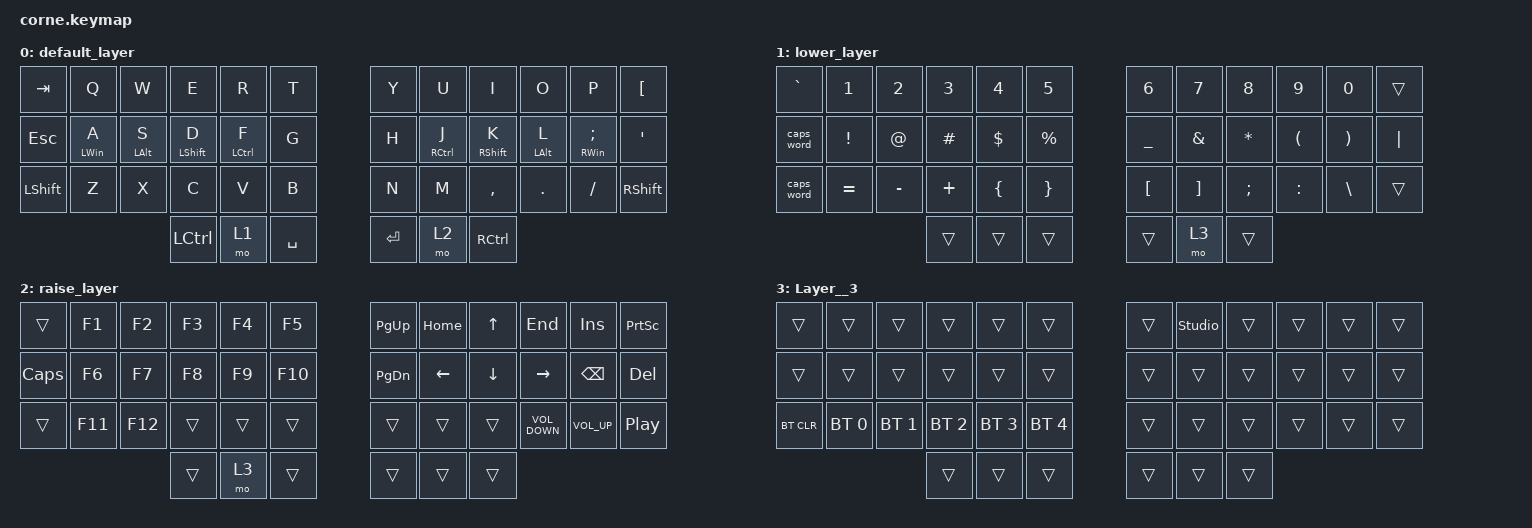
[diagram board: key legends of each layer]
/*
 * Copyright (c) 2020 The ZMK Contributors
 *
 * SPDX-License-Identifier: MIT
 */

#include <behaviors.dtsi>
#include <dt-bindings/zmk/bt.h>
#include <dt-bindings/zmk/keys.h>

/ {
    behaviors {
        hm: homerow_mods {
            compatible = "zmk,behavior-hold-tap";
            label = "HOMEROW_MODS";
            #binding-cells = <2>;
            tapping-term-ms = <200>;
            quick-tap-ms = <0>;
            flavor = "tap-preferred";
            bindings = <&kp>, <&kp>;
        };
    };

    keymap {
        compatible = "zmk,keymap";

        default_layer {
            // -----------------------------------------------------------------------------------------
            // |  TAB |  Q  |  W  |  E  |  R  |  T  |   |  Y  |  U   |  I  |  O  |  P  | BKSP |
            // | CTRL |  A  |  S  |  D  |  F  |  G  |   |  H  |  J   |  K  |  L  |  ;  |  '   |
            // | SHFT |  Z  |  X  |  C  |  V  |  B  |   |  N  |  M   |  ,  |  .  |  /  | ESC  |
            //                    | GUI | LWR | SPC |   | ENT | RSE  | ALT |

            bindings = <
&kp TAB    &kp Q           &kp W           &kp E             &kp R        &kp T      &kp Y    &kp U        &kp I              &kp O           &kp P               &kp LEFT_BRACKET
&kp ESC    &hm LEFT_WIN A  &hm LEFT_ALT S  &hm LEFT_SHIFT D  &hm LCTRL F  &kp G      &kp H    &hm RCTRL J  &hm RIGHT_SHIFT K  &hm LEFT_ALT L  &hm RIGHT_WIN SEMI  &kp SQT
&kp LSHFT  &kp Z           &kp X           &kp C             &kp V        &kp B      &kp N    &kp M        &kp COMMA          &kp DOT         &kp FSLH            &kp RIGHT_SHIFT
                                           &kp LCTRL         &mo 1        &kp SPACE  &kp RET  &mo 2        &kp RCTRL
            >;
        };

        lower_layer {
            // -----------------------------------------------------------------------------------------
            // |  TAB |  1  |  2  |  3  |  4  |  5  |   |  6  |  7  |  8  |  9  |  0  | BKSP |
            // | BTCLR| BT1 | BT2 | BT3 | BT4 | BT5 |   | LFT | DWN |  UP | RGT |     |      |
            // | SHFT |     |     |     |     |     |   |     |     |     |     |     |      |
            //                    | GUI |     | SPC |   | ENT |     | ALT |

            bindings = <
&kp GRAVE   &kp N1     &kp N2     &kp N3    &kp N4          &kp N5           &kp N6            &kp N7             &kp N8    &kp N9     &kp N0                 &trans
&caps_word  &kp EXCL   &kp AT     &kp HASH  &kp DOLLAR      &kp PERCENT      &kp UNDER         &kp AMPS           &kp STAR  &kp LPAR   &kp RIGHT_PARENTHESIS  &kp PIPE
&caps_word  &kp EQUAL  &kp MINUS  &kp PLUS  &kp LEFT_BRACE  &kp RIGHT_BRACE  &kp LEFT_BRACKET  &kp RIGHT_BRACKET  &kp SEMI  &kp COLON  &kp BACKSLASH          &trans
                                  &trans    &trans          &trans           &trans            &mo 3              &trans
            >;
        };

        raise_layer {
            // -----------------------------------------------------------------------------------------
            // |  TAB |  !  |  @  |  #  |  $  |  %  |   |  ^  |  &  |  *  |  (  |  )  | BKSP |
            // | CTRL |     |     |     |     |     |   |  -  |  =  |  [  |  ]  |  \  |  `   |
            // | SHFT |     |     |     |     |     |   |  _  |  +  |  {  |  }  | "|" |  ~   |
            //                    | GUI |     | SPC |   | ENT |     | ALT |

            bindings = <
&trans        &kp F1   &kp F2   &kp F3  &kp F4  &kp F5   &kp PG_UP  &kp HOME  &kp UP    &kp END            &kp INS        &kp PSCRN
&kp CAPSLOCK  &kp F6   &kp F7   &kp F8  &kp F9  &kp F10  &kp PG_DN  &kp LEFT  &kp DOWN  &kp RIGHT          &kp BACKSPACE  &kp DEL
&trans        &kp F11  &kp F12  &trans  &trans  &trans   &trans     &trans    &trans    &kp C_VOLUME_DOWN  &kp C_VOL_UP   &kp C_PLAY_PAUSE
                                &trans  &mo 3   &trans   &trans     &trans    &trans
            >;
        };

        Layer__3 {
            bindings = <
&trans      &trans        &trans        &trans        &trans        &trans        &trans  &studio_unlock  &trans  &trans  &trans  &trans
&trans      &trans        &trans        &trans        &trans        &trans        &trans  &trans          &trans  &trans  &trans  &trans
&bt BT_CLR  &bt BT_SEL 0  &bt BT_SEL 1  &bt BT_SEL 2  &bt BT_SEL 3  &bt BT_SEL 4  &trans  &trans          &trans  &trans  &trans  &trans
                                        &trans        &trans        &trans        &trans  &trans          &trans
            >;
        };
    };
};
